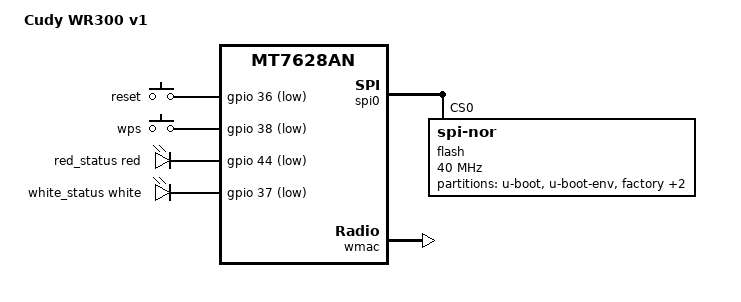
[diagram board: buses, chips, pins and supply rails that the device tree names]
// SPDX-License-Identifier: GPL-2.0-or-later OR MIT

#include "mt7628an.dtsi"

#include <dt-bindings/gpio/gpio.h>
#include <dt-bindings/input/input.h>
#include <dt-bindings/leds/common.h>

/ {
	compatible = "cudy,wr300-v1", "mediatek,mt7628an-soc";
	model = "Cudy WR300 v1";

	aliases {
		led-boot = &white_status;
		led-running = &white_status;
		led-failsafe = &red_status;
		led-upgrade = &red_status;
		label-mac-device = &ethernet;
	};

	chosen {
		bootargs = "console=ttyS0,115200";
	};

	gpio-keys {
		compatible = "gpio-keys";

		button-reset {
			label = "reset";
			linux,code = <KEY_RESTART>;
			gpios = <&gpio 36 GPIO_ACTIVE_LOW>;
		};

		button-wps {
			label = "wps";
			linux,code = <KEY_WPS_BUTTON>;
			gpios = <&gpio 38 GPIO_ACTIVE_LOW>;
		};
	};

	leds {
		compatible = "gpio-leds";

		red_status: red_status {
			function = LED_FUNCTION_STATUS;
			color = <LED_COLOR_ID_RED>;
			gpios = <&gpio 44 GPIO_ACTIVE_LOW>;
		};

		white_status: white_status {
			function = LED_FUNCTION_STATUS;
			color = <LED_COLOR_ID_WHITE>;
			gpios = <&gpio 37 GPIO_ACTIVE_LOW>;
		};
	};
};

&spi0 {
	status = "okay";

	flash@0 {
		compatible = "jedec,spi-nor";
		reg = <0>;
		spi-max-frequency = <40000000>;

		partitions {
			compatible = "fixed-partitions";
			#address-cells = <1>;
			#size-cells = <1>;

			partition@0 {
				label = "u-boot";
				reg = <0x0 0x30000>;
				read-only;
			};

			partition@30000 {
				label = "u-boot-env";
				reg = <0x30000 0x10000>;
				read-only;
			};

			partition@40000 {
				label = "factory";
				reg = <0x40000 0x10000>;
				read-only;

				nvmem-layout {
					compatible = "fixed-layout";
					#address-cells = <1>;
					#size-cells = <1>;

					eeprom_factory_0: eeprom@0 {
						reg = <0x0 0x400>;
					};
				};
			};

			partition@50000 {
				compatible = "denx,uimage";
				label = "firmware";
				reg = <0x50000 0x7a0000>;
			};

			partition@7f0000 {
				label = "bdinfo";
				reg = <0x7f0000 0x10000>;
				read-only;

				nvmem-layout {
					compatible = "fixed-layout";
					#address-cells = <1>;
					#size-cells = <1>;

					macaddr_bdinfo_de00: macaddr@de00 {
						compatible = "mac-base";
						reg = <0xde00 0x6>;
						#nvmem-cell-cells = <1>;
					};
				};
			};
		};
	};
};

&state_default {
	gpio {
		groups = "i2s", "refclk", "wdt", "wled_an";
		function = "gpio";
	};
};

&wmac {
	status = "okay";

	nvmem-cells = <&eeprom_factory_0>, <&macaddr_bdinfo_de00 1>;
	nvmem-cell-names = "eeprom", "mac-address";
};

&ethernet {
	nvmem-cells = <&macaddr_bdinfo_de00 0>;
	nvmem-cell-names = "mac-address";
};

&esw {
	mediatek,portmap = <0x4f>;
};
